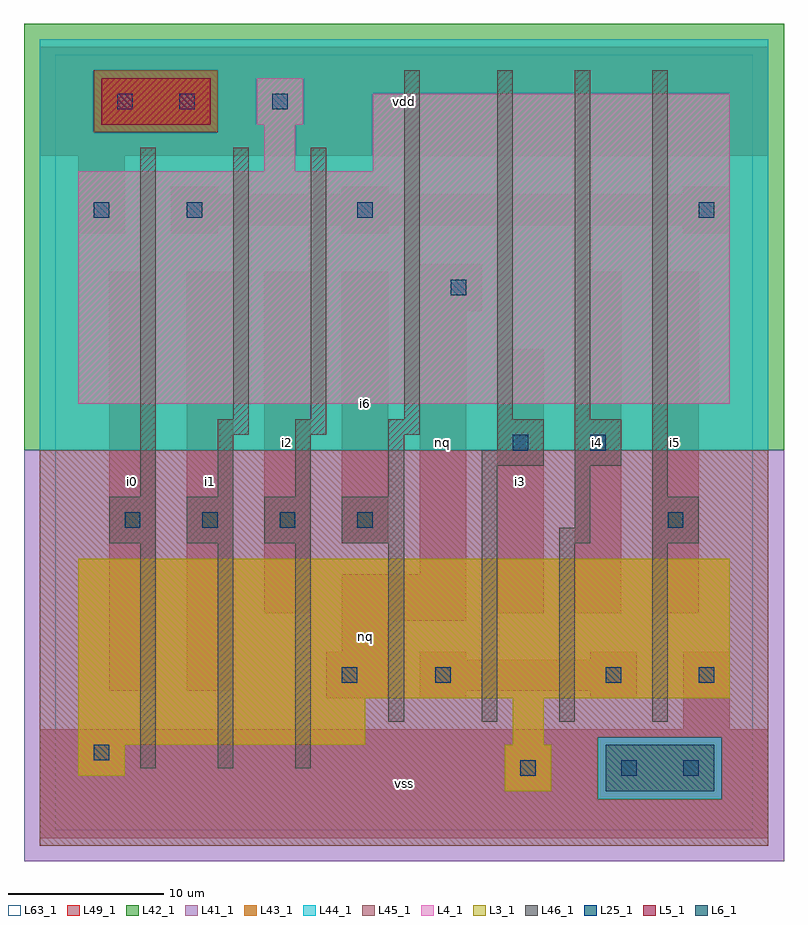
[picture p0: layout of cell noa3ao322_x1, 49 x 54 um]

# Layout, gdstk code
import gdstk
lib = gdstk.Library(unit=1e-6, precision=1e-09)
def R(c, l, rs):  # rectangles x0, y0, x1, y1
    for r in rs: c.add(gdstk.rectangle(r[:2], r[2:], *l))
def A(c, l, x, y, w, h, nx, ny, dx, dy):  # array of equal rectangles
    R(c, l, [(x+i*dx, y+j*dy, x+i*dx+w, y+j*dy+h) for i in range(nx) for j in range(ny)])
L3_1 = (3, 1)
L4_1 = (4, 1)
L5_1 = (5, 1)
L6_1 = (6, 1)
L25_1 = (25, 1)
L41_1 = (41, 1)
L42_1 = (42, 1)
L43_1 = (43, 1)
L44_1 = (44, 1)
L45_1 = (45, 1)
L46_1 = (46, 1)
L49_1 = (49, 1)
L63_1 = (63, 1)

noa3ao322_x1 = lib.new_cell('noa3ao322_x1')
R(noa3ao322_x1, L3_1, [(29,2.5,32,5.5), (1.5,3.5,4.5,5.5), (1.5,5.5,20,8.5), (29.5,5.5,31.5,8.5), (1.5,8.5,43.5,17.5)])
R(noa3ao322_x1, L4_1, [(1.5,27.5,43.5,42.5), (13.5,42.5,15.5,45.5), (20.5,42.5,43.5,47.5), (13,45.5,16,48.5)])
R(noa3ao322_x1, L5_1, [(3,45.5,10,48.5)])
R(noa3ao322_x1, L6_1, [(35.5,2.5,42.5,5.5)])
A(noa3ao322_x1, L25_1, 4.5, 19.5, 1, 1, 4, 1, 5, 0)
R(noa3ao322_x1, L25_1, [(30,3.5,31,4.5), (36.5,3.5,37.5,4.5), (40.5,3.5,41.5,4.5), (2.5,4.5,3.5,5.5), (18.5,9.5,19.5,10.5), (24.5,9.5,25.5,10.5), (35.5,9.5,36.5,10.5), (41.5,9.5,42.5,10.5), (39.5,19.5,40.5,20.5), (29.5,24.5,30.5,25.5), (34.5,24.5,35.5,25.5), (25.5,34.5,26.5,35.5), (2.5,39.5,3.5,40.5), (8.5,39.5,9.5,40.5), (19.5,39.5,20.5,40.5), (41.5,39.5,42.5,40.5), (4,46.5,5,47.5), (8,46.5,9,47.5), (14,46.5,15,47.5)])
R(noa3ao322_x1, L41_1, [(-2,-2,47,24.5)])
R(noa3ao322_x1, L42_1, [(-2,24.5,47,52)])
R(noa3ao322_x1, L43_1, [(29,2.5,32,5.5), (35.5,2.5,42.5,5.5), (1.5,3.5,4.5,5.5), (1.5,5.5,20,8.5), (29.5,5.5,31.5,8.5), (1.5,8.5,43.5,17.5), (1.5,27.5,43.5,42.5), (13.5,42.5,15.5,45.5), (20.5,42.5,43.5,47.5), (3,45.5,10,48.5), (13,45.5,16,48.5)])
R(noa3ao322_x1, L44_1, [(35,2,43,6), (-1,24.5,46,45), (-1,45,2.5,49), (10.5,45,46,49), (-1,49,46,51)])
R(noa3ao322_x1, L45_1, [(-1,-1,46,2), (-1,2,35,6), (43,2,46,6), (-1,6,46,24.5), (2.5,45,10.5,49)])
A(noa3ao322_x1, L46_1, 5.5, 4, 1, 14.5, 3, 1, 5, 0)
A(noa3ao322_x1, L46_1, 3.5, 18.5, 3, 3, 3, 1, 5, 0)
R(noa3ao322_x1, L46_1, [(21.5,7,22.5,18.5), (27.5,7,28.5,23.5), (32.5,7,33.5,18.5), (38.5,7,39.5,18.5), (18.5,18.5,22.5,21.5), (32.5,18.5,34.5,19.5), (38.5,18.5,41.5,21.5), (33.5,19.5,34.5,23.5), (5.5,21.5,6.5,44), (10.5,21.5,11.5,25.5), (15.5,21.5,16.5,25.5), (21.5,21.5,22.5,25.5), (38.5,21.5,39.5,49), (27.5,23.5,31.5,24.5), (33.5,23.5,36.5,26.5), (28.5,24.5,31.5,26.5), (10.5,25.5,12.5,26.5), (15.5,25.5,17.5,26.5), (21.5,25.5,23.5,26.5), (11.5,26.5,12.5,44), (16.5,26.5,17.5,44), (22.5,26.5,23.5,49), (28.5,26.5,29.5,49), (33.5,26.5,34.5,49)])
R(noa3ao322_x1, L49_1, [(-1,-0.5,46,6.5), (40.5,6.5,43.5,11.5), (17.5,8.5,21.5,11.5), (23.5,8.5,26.5,9), (34.5,8.5,37.5,9), (3.5,9,6.5,36), (8.5,9,11.5,36), (23.5,9,37.5,11), (23.5,11,26.5,11.5), (34.5,11,37.5,11.5), (18.5,11.5,21.5,13.5), (18.5,13.5,26.5,16.5), (13.5,14,16.5,36), (28.5,14,31.5,31), (33.5,14,36.5,36), (38.5,14,41.5,36), (23.5,16.5,26.5,33.5), (18.5,18.5,21.5,36), (23.5,33.5,27.5,36.5), (1.5,38.5,4.5,43.5), (7.5,38.5,10.5,39), (18.5,38.5,21.5,39), (40.5,38.5,43.5,39), (7.5,39,43.5,41), (7.5,41,10.5,41.5), (18.5,41,21.5,41.5), (40.5,41,43.5,41.5), (-1,43.5,46,50.5)])
R(noa3ao322_x1, L63_1, [(0,0,45,50)])
noa3ao322_x1.add(gdstk.Label('i0', (5,22.5), layer=49, texttype=1))
noa3ao322_x1.add(gdstk.Label('i0', (5,22.5), layer=49, texttype=1))
noa3ao322_x1.add(gdstk.Label('i2', (15,25), layer=49, texttype=1))
noa3ao322_x1.add(gdstk.Label('i1', (10,22.5), layer=49, texttype=1))
noa3ao322_x1.add(gdstk.Label('i2', (15,25), layer=49, texttype=1))
noa3ao322_x1.add(gdstk.Label('i1', (10,22.5), layer=49, texttype=1))
noa3ao322_x1.add(gdstk.Label('vss', (22.5,3), layer=49, texttype=1))
noa3ao322_x1.add(gdstk.Label('vss', (22.5,3), layer=49, texttype=1))
noa3ao322_x1.add(gdstk.Label('nq', (20,12.5), layer=49, texttype=1))
noa3ao322_x1.add(gdstk.Label('nq', (20,12.5), layer=49, texttype=1))
noa3ao322_x1.add(gdstk.Label('nq', (25,25), layer=49, texttype=1))
noa3ao322_x1.add(gdstk.Label('i6', (20,27.5), layer=49, texttype=1))
noa3ao322_x1.add(gdstk.Label('nq', (25,25), layer=49, texttype=1))
noa3ao322_x1.add(gdstk.Label('i6', (20,27.5), layer=49, texttype=1))
noa3ao322_x1.add(gdstk.Label('vdd', (22.5,47), layer=49, texttype=1))
noa3ao322_x1.add(gdstk.Label('vdd', (22.5,47), layer=49, texttype=1))
noa3ao322_x1.add(gdstk.Label('i4', (35,25), layer=49, texttype=1))
noa3ao322_x1.add(gdstk.Label('i3', (30,22.5), layer=49, texttype=1))
noa3ao322_x1.add(gdstk.Label('i4', (35,25), layer=49, texttype=1))
noa3ao322_x1.add(gdstk.Label('i3', (30,22.5), layer=49, texttype=1))
noa3ao322_x1.add(gdstk.Label('i5', (40,25), layer=49, texttype=1))
noa3ao322_x1.add(gdstk.Label('i5', (40,25), layer=49, texttype=1))

lib.write_gds('noa3ao322_x1.gds')
